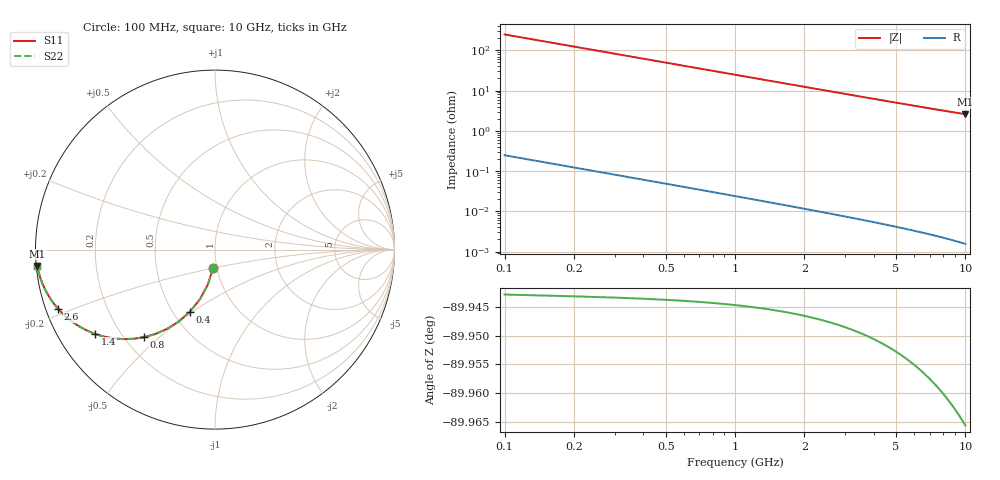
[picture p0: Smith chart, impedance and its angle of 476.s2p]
# Hz S RI R 50.00
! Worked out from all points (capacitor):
!   100 points, 100 MHz to 10 GHz, reference 50 ohm
!   read as one part in shunt: C = 6.42 pF near 100 MHz
!   lowest |Z| = 2.59 ohm at 10 GHz (marker M1)
!   S11 on the Smith chart (normalised r, x): 100 MHz: 0.96, -0.19; 400 MHz: 0.61, -0.49; 800 MHz: 0.28, -0.45; 1.4 GHz: 0.11, -0.31; 2.6 GHz: 0.04, -0.18; 10 GHz: 0.00, -0.05
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1e8  -0.0101 -0.0998  0.9898 -0.0999  0.9898 -0.0999  -0.0101 -0.0998
2e8  -0.0393 -0.1937  0.9606 -0.194  0.9606 -0.194  -0.0393 -0.1937
3e8  -0.0841 -0.277  0.9158 -0.2773  0.9158 -0.2773  -0.0841 -0.277
4e8  -0.1403 -0.3466  0.8596 -0.3471  0.8596 -0.3471  -0.1403 -0.3466
5e8  -0.2031 -0.4016  0.7968 -0.4021  0.7968 -0.4021  -0.2031 -0.4016
6e8  -0.2684 -0.4423  0.7315 -0.443  0.7315 -0.443  -0.2684 -0.4423
7e8  -0.333 -0.4704  0.6669 -0.4712  0.6669 -0.4712  -0.333 -0.4704
8e8  -0.3946 -0.4878  0.6053 -0.4887  0.6053 -0.4887  -0.3946 -0.4878
9e8  -0.452 -0.4967  0.5479 -0.4977  0.5479 -0.4977  -0.452 -0.4967
1.1e9  -0.5519 -0.4962  0.448 -0.4974  0.448 -0.4974  -0.5519 -0.4962
1.2e9  -0.5944 -0.4898  0.4055 -0.4912  0.4055 -0.4912  -0.5944 -0.4898
1.4e9  -0.6661 -0.4703  0.3339 -0.4719  0.3339 -0.4719  -0.6661 -0.4703
1.6e9  -0.7226 -0.4463  0.2773 -0.4481  0.2773 -0.4481  -0.7226 -0.4463
1.8e9  -0.7672 -0.421  0.2327 -0.4231  0.2327 -0.4231  -0.7672 -0.421
2.2e9  -0.8311 -0.3728  0.1688 -0.3753  0.1688 -0.3753  -0.8311 -0.3728
2.6e9  -0.873 -0.3309  0.1269 -0.3339  0.1269 -0.3339  -0.873 -0.3309
3.4e9  -0.9216 -0.2663  0.0783 -0.2702  0.0783 -0.2702  -0.9216 -0.2663
4.2e9  -0.9472 -0.2206  0.0527 -0.2254  0.0527 -0.2254  -0.9472 -0.2206
5.1e9  -0.9636 -0.1837  0.0363 -0.1896  0.0363 -0.1896  -0.9636 -0.1837
6.7e9  -0.9786 -0.14  0.0213 -0.1478  0.0213 -0.1478  -0.9786 -0.14
8.4e9  -0.9863 -0.1103  0.0135 -0.1201  0.0135 -0.1201  -0.9863 -0.1103
1e10  -0.9904 -0.0908  0.00946 -0.1026  0.00946 -0.1026  -0.9904 -0.0908
